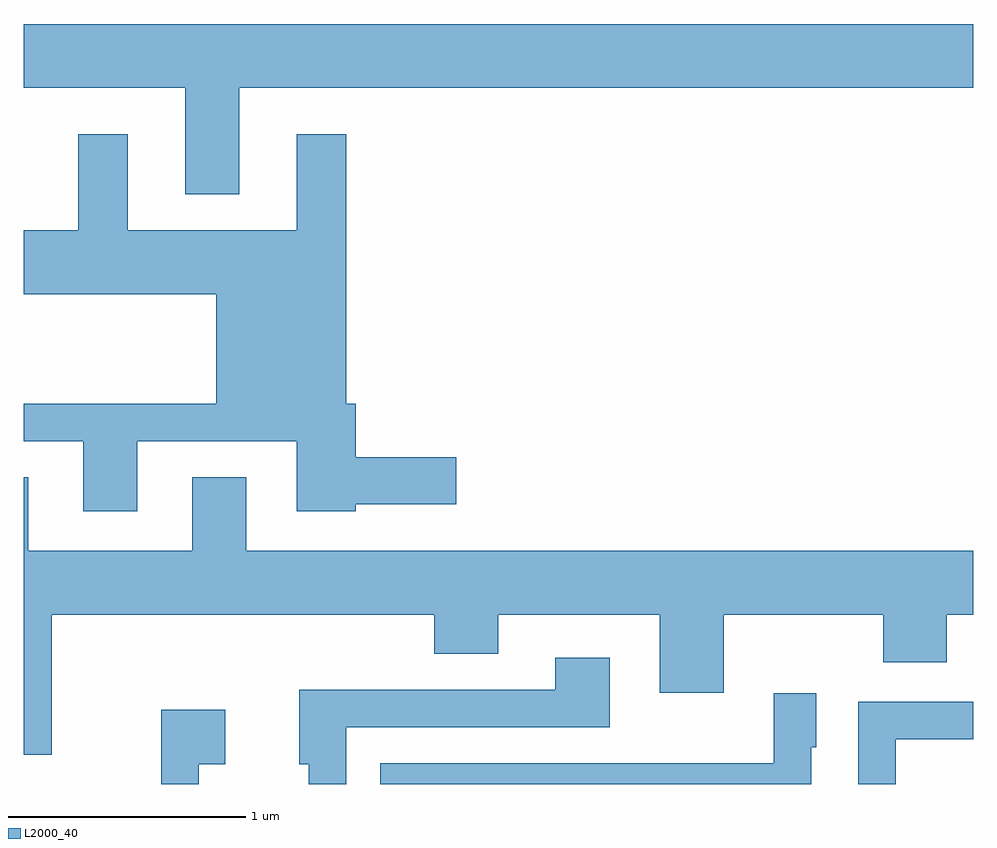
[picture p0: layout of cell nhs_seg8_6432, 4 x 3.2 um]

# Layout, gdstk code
import gdstk
lib = gdstk.Library(unit=1e-6, precision=1e-09)
def P(c, l, *ps):  # polygons
    for p in ps: c.add(gdstk.Polygon(p, *l))
L2000_40 = (2000, 40)

nhs_seg8_6432 = lib.new_cell('nhs_seg8_6432')
P(nhs_seg8_6432, L2000_40, [(378.519,1865.276),(381.611,1865.276),(381.611,1865.544),(377.611,1865.544),(377.611,1865.276),(378.291,1865.276),(378.291,1864.826),(378.519,1864.826)],
  [(378.089,1863.786),(378.761,1863.786),(378.761,1863.491),(379.009,1863.491),(379.009,1863.521),(379.434,1863.521),(379.434,1863.719),(379.009,1863.719),(379.009,1863.944),(378.969,1863.944),(378.969,1865.079),(378.761,1865.079),(378.761,1864.674),(378.049,1864.674),(378.049,1865.079),(377.841,1865.079),(377.841,1864.674),(377.611,1864.674),(377.611,1864.406),(378.421,1864.406),(378.421,1863.944),(377.611,1863.944),(377.611,1863.786),(377.861,1863.786),(377.861,1863.491),(378.089,1863.491)],
  [(377.729,1863.056),(379.341,1863.056),(379.341,1862.891),(379.609,1862.891),(379.609,1863.056),(380.291,1863.056),(380.291,1862.726),(380.559,1862.726),(380.559,1863.056),(381.231,1863.056),(381.231,1862.856),(381.499,1862.856),(381.499,1863.056),(381.611,1863.056),(381.611,1863.324),(378.549,1863.324),(378.549,1863.634),(378.321,1863.634),(378.321,1863.324),(377.629,1863.324),(377.629,1863.634),(377.611,1863.634),(377.611,1862.466),(377.729,1862.466)],
  [(378.969,1862.581),(380.079,1862.581),(380.079,1862.874),(379.851,1862.874),(379.851,1862.739),(378.771,1862.739),(378.771,1862.426),(378.811,1862.426),(378.811,1862.342),(378.969,1862.342)],
  [(380.929,1862.496),(380.949,1862.496),(380.949,1862.724),(380.771,1862.724),(380.771,1862.429),(379.113,1862.429),(379.113,1862.342),(380.929,1862.342)],
  [(381.284,1862.531),(381.611,1862.531),(381.611,1862.689),(381.126,1862.689),(381.126,1862.342),(381.284,1862.342)],
  [(378.349,1862.426),(378.459,1862.426),(378.459,1862.654),(378.191,1862.654),(378.191,1862.342),(378.349,1862.342)])

lib.write_gds('nhs_seg8_6432.gds')
